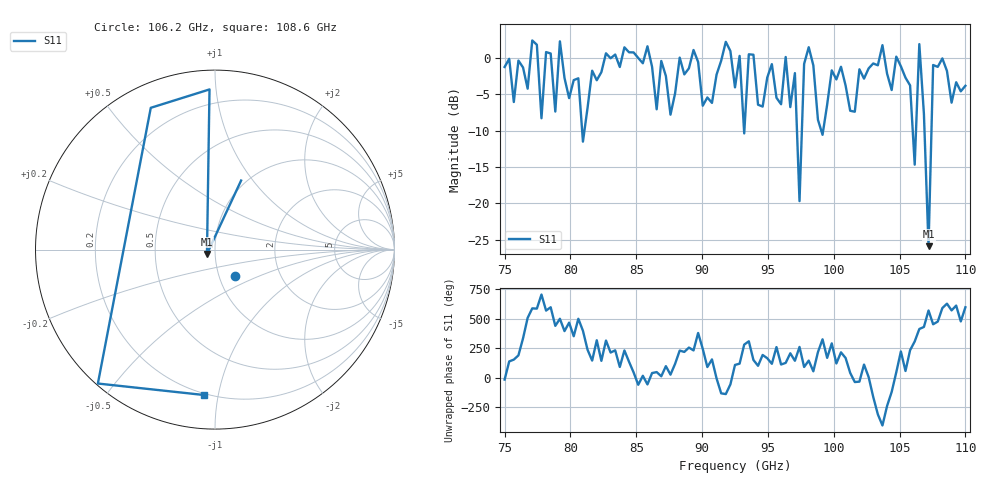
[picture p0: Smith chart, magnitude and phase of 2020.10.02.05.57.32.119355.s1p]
!Created with skrf (http://scikit-rf.org).
# GHz S RI R 50.0
!freq ReS11 ImS11
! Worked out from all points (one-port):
!   101 points, 75 GHz to 110 GHz, reference 50 ohm
!   lowest |S11| = -25.9 dB at 107.2 GHz (marker M1), VSWR 1.11, Z = 45.7 - j2.2 ohm
!   |S11| at or under -10 dB: 80.88936 GHz to 81.06382 GHz (174.5 MHz wide, 0.215 % of centre); 93.18753 GHz to 93.21221 GHz (24.68 MHz wide, 0.0265 % of centre); 97.20731 GHz to 97.57982 GHz (372.5 MHz wide, 0.382 % of centre) (the widest 3 of 6)
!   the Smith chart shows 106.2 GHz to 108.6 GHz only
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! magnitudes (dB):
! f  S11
! 75 GHz  -1.2
! 79.55 GHz  -2.8
! 80.6 GHz  -2.8
! 80.95 GHz  -11.5
! 81.65 GHz  -1.8
! 83.75 GHz  -1.3
! 85.85 GHz  1.6
! 87.6 GHz  -7.8
! 88.3 GHz  0.0
! 92.5 GHz  -4.1
! 92.85 GHz  0.3
! 93.2 GHz  -10.4
! 93.55 GHz  0.5
! 94.6 GHz  -6.7
! 97.05 GHz  -2.1
! 97.4 GHz  -19.7
! 97.75 GHz  -0.8
! 98.1 GHz  1.5
! 99.15 GHz  -10.6
! 99.85 GHz  -1.7
! 101.2 GHz  -7.3
! 103.7 GHz  1.7
! 105.8 GHz  -3.8
! 106.2 GHz  -14.7
! 106.5 GHz  1.9
! 107.2 GHz  -25.9
! 107.5 GHz  -1.0
! 110 GHz  -3.8
